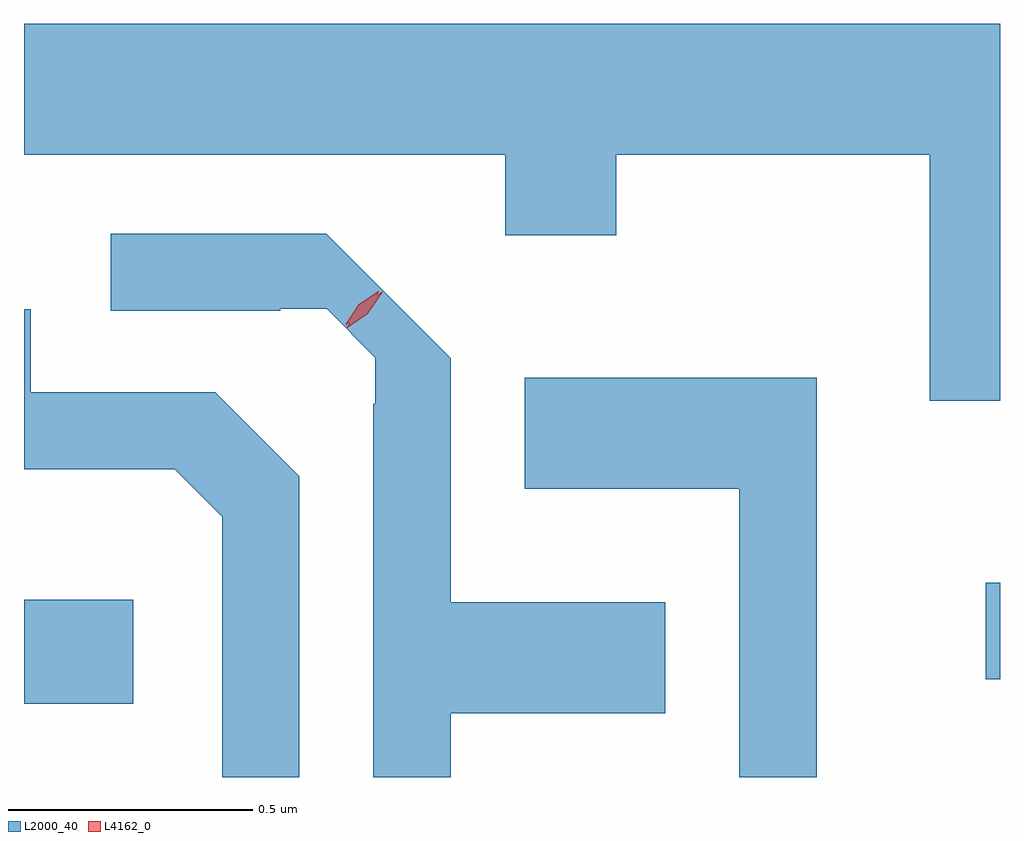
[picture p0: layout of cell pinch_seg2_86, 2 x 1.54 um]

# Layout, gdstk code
import gdstk
lib = gdstk.Library(unit=1e-6, precision=1e-09)
def R(c, l, rs):  # rectangles x0, y0, x1, y1
    for r in rs: c.add(gdstk.rectangle(r[:2], r[2:], *l))
def P(c, l, *ps):  # polygons
    for p in ps: c.add(gdstk.Polygon(p, *l))
L2000_40 = (2000, 40)
L4162_0 = (4162, 0)

pinch_seg2_86 = lib.new_cell('pinch_seg2_86')
R(pinch_seg2_86, L2000_40, [(1129.045,987.251,1129.269,987.464), (1131.016,987.301,1131.045,987.499)])
P(pinch_seg2_86, L2000_40, [(1131.045,988.644),(1129.045,988.644),(1129.045,988.376),(1130.031,988.376),(1130.031,988.211),(1130.259,988.211),(1130.259,988.376),(1130.901,988.376),(1130.901,987.871),(1131.045,987.871)],
  [(1129.919,987.231),(1130.359,987.231),(1130.359,987.459),(1129.919,987.459),(1129.919,987.959),(1129.664,988.214),(1129.223,988.214),(1129.223,988.056),(1129.57,988.056),(1129.57,988.06),(1129.665,988.06),(1129.765,987.96),(1129.765,987.865),(1129.761,987.865),(1129.761,987.1),(1129.919,987.1)],
  [(1129.609,987.717),(1129.437,987.889),(1129.059,987.889),(1129.059,988.059),(1129.045,988.059),(1129.045,987.731),(1129.354,987.731),(1129.451,987.634),(1129.451,987.1),(1129.609,987.1)],
  [(1130.669,987.919),(1130.071,987.919),(1130.071,987.691),(1130.511,987.691),(1130.511,987.1),(1130.669,987.1)])
P(pinch_seg2_86, L4162_0, [(1129.704,988.027),(1129.704,988.028),(1129.731,988.069),(1129.771,988.096),(1129.772,988.096),(1129.772,988.095),(1129.745,988.055),(1129.705,988.027)],
  [(1129.705,988.02),(1129.705,988.02),(1129.735,988.065),(1129.779,988.095),(1129.78,988.095),(1129.78,988.095),(1129.749,988.05),(1129.706,988.02)])

lib.write_gds('pinch_seg2_86.gds')
